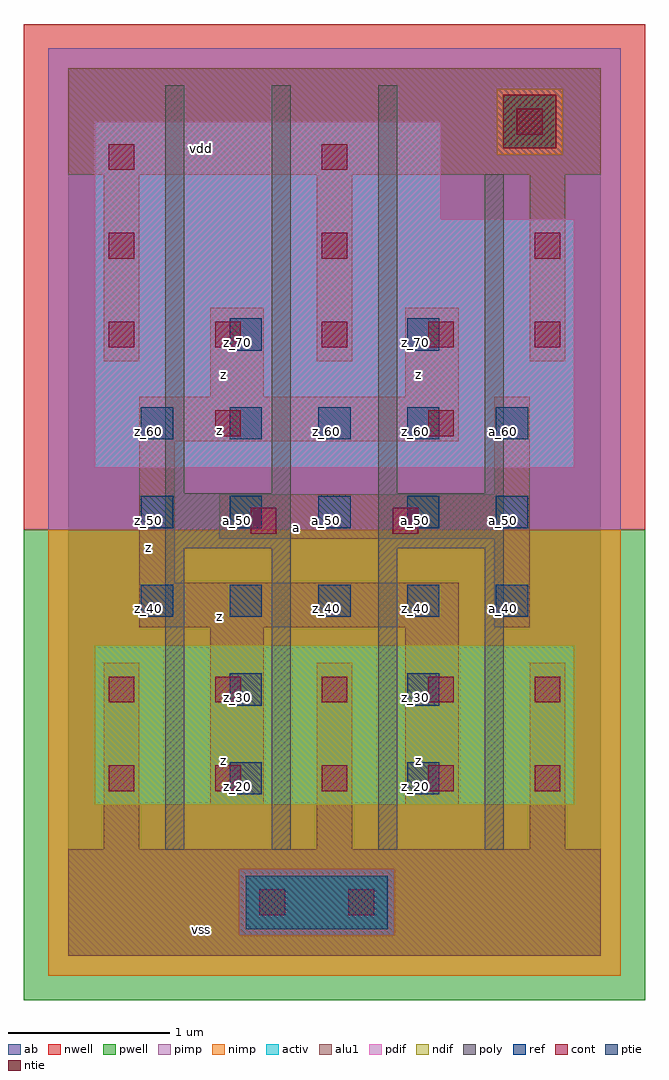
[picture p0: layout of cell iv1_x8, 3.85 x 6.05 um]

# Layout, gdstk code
import gdstk
lib = gdstk.Library(unit=1e-6, precision=2.5e-09)
def R(c, l, rs):  # rectangles x0, y0, x1, y1
    for r in rs: c.add(gdstk.rectangle(r[:2], r[2:], *l))
def A(c, l, x, y, w, h, nx, ny, dx, dy):  # array of equal rectangles
    R(c, l, [(x+i*dx, y+j*dy, x+i*dx+w, y+j*dy+h) for i in range(nx) for j in range(ny)])
ndif = (3, 0)
pdif = (4, 0)
ntie = (5, 0)
ptie = (6, 0)
ref = (24, 0)
cont = (25, 0)
pwell = (41, 0)
nwell = (42, 0)
activ = (43, 0)
pimp = (44, 0)
nimp = (45, 0)
poly = (46, 0)
alu1 = (49, 0)
ab = (63, 0)

iv1_x8 = lib.new_cell('iv1_x8')
R(iv1_x8, ndif, [(0.165,0.935,3.135,1.925)])
R(iv1_x8, pdif, [(0.165,3.025,3.135,4.565), (0.165,4.565,2.31,5.17)])
R(iv1_x8, ntie, [(2.695,5.005,3.025,5.335)])
R(iv1_x8, ptie, [(1.1,0.165,1.98,0.495)])
A(iv1_x8, ref, 0.45, 2.1, 0.2, 0.2, 5, 3, 0.55, 0.55)
R(iv1_x8, ref, [(1,1,1.2,1.2), (2.1,1,2.3,1.2), (1,1.55,1.2,1.75), (2.1,1.55,2.3,1.75), (1,3.75,1.2,3.95), (2.1,3.75,2.3,3.95)])
A(iv1_x8, cont, 0.25, 1.02, 0.16, 0.16, 5, 2, 0.66, 0.55)
A(iv1_x8, cont, 0.25, 3.77, 0.16, 0.16, 5, 1, 0.66, 0)
A(iv1_x8, cont, 0.25, 4.32, 0.16, 0.16, 3, 1, 1.32, 0)
R(iv1_x8, cont, [(1.185,0.25,1.345,0.41), (1.735,0.25,1.895,0.41), (1.13,2.615,1.29,2.775), (2.01,2.615,2.17,2.775), (0.91,3.22,1.07,3.38), (2.23,3.22,2.39,3.38), (0.25,4.87,0.41,5.03), (1.57,4.87,1.73,5.03), (2.78,5.09,2.94,5.25)])
R(iv1_x8, pwell, [(-0.275,-0.275,3.575,2.64)])
R(iv1_x8, nwell, [(-0.275,2.64,3.575,5.775)])
R(iv1_x8, activ, [(1.1,0.165,1.98,0.495), (0.165,0.935,3.135,1.925), (0.165,3.025,3.135,4.565), (0.165,4.565,2.31,5.17), (2.695,5.005,3.025,5.335)])
R(iv1_x8, pimp, [(1.06,0.125,2.02,0.535), (-0.125,2.64,3.425,4.965), (-0.125,4.965,2.655,5.375), (3.065,4.965,3.425,5.375), (-0.125,5.375,3.425,5.625)])
R(iv1_x8, nimp, [(-0.125,-0.125,3.425,0.125), (-0.125,0.125,1.06,0.535), (2.02,0.125,3.425,0.535), (-0.125,0.535,3.425,2.64), (2.655,4.965,3.065,5.375)])
A(iv1_x8, poly, 0.6, 0.655, 0.12, 1.87, 4, 1, 0.66, 0)
A(iv1_x8, poly, 0.6, 2.865, 0.12, 2.53, 3, 1, 0.66, 0)
R(iv1_x8, poly, [(0.6,2.525,1.38,2.865), (1.92,2.525,2.7,2.865), (2.58,2.865,2.7,4.845)])
A(iv1_x8, alu1, 0.22, 0.66, 0.22, 1.155, 3, 2, 1.32, 3.025)
R(iv1_x8, alu1, [(0,0,3.3,0.66), (0.88,0.935,1.21,2.035), (2.09,0.935,2.42,2.035), (0.44,2.035,2.42,2.31), (2.64,2.035,2.86,2.585), (0.44,2.31,0.66,3.19), (0.935,2.585,2.86,2.86), (2.64,2.86,2.86,3.465), (0.44,3.19,2.42,3.465), (0.88,3.465,1.21,4.015), (2.09,3.465,2.42,4.015), (0,4.84,3.3,5.5)])
R(iv1_x8, ab, [(0,0,3.3,5.5)])
iv1_x8.add(gdstk.Label('vss', (0.825,0.165), layer=49, texttype=0))
iv1_x8.add(gdstk.Label('z', (2.1725,1.21), layer=49, texttype=0))
iv1_x8.add(gdstk.Label('z', (0.9625,1.21), layer=49, texttype=0))
iv1_x8.add(gdstk.Label('z', (0.935,2.1025), layer=49, texttype=0))
iv1_x8.add(gdstk.Label('a', (1.415,2.6525), layer=49, texttype=0))
iv1_x8.add(gdstk.Label('z', (0.495,2.53), layer=49, texttype=0))
iv1_x8.add(gdstk.Label('z', (0.935,3.2575), layer=49, texttype=0))
iv1_x8.add(gdstk.Label('z', (2.1725,3.6025), layer=49, texttype=0))
iv1_x8.add(gdstk.Label('z', (0.9625,3.6025), layer=49, texttype=0))
iv1_x8.add(gdstk.Label('vdd', (0.825,5.005), layer=49, texttype=0))
iv1_x8.add(gdstk.Label('z_40', (0.5,2.15), layer=24, texttype=0))
iv1_x8.add(gdstk.Label('z_60', (0.5,3.25), layer=24, texttype=0))
iv1_x8.add(gdstk.Label('z_30', (2.15,1.6), layer=24, texttype=0))
iv1_x8.add(gdstk.Label('z_40', (2.15,2.15), layer=24, texttype=0))
iv1_x8.add(gdstk.Label('z_40', (1.6,2.15), layer=24, texttype=0))
iv1_x8.add(gdstk.Label('a_50', (2.15,2.7), layer=24, texttype=0))
iv1_x8.add(gdstk.Label('z_70', (2.15,3.8), layer=24, texttype=0))
iv1_x8.add(gdstk.Label('z_60', (2.15,3.25), layer=24, texttype=0))
iv1_x8.add(gdstk.Label('z_60', (1.6,3.25), layer=24, texttype=0))
iv1_x8.add(gdstk.Label('a_50', (1.6,2.7), layer=24, texttype=0))
iv1_x8.add(gdstk.Label('z_50', (0.5,2.7), layer=24, texttype=0))
iv1_x8.add(gdstk.Label('z_60', (1.05,3.25), layer=24, texttype=0))
iv1_x8.add(gdstk.Label('z_30', (1.05,1.6), layer=24, texttype=0))
iv1_x8.add(gdstk.Label('z_40', (1.05,2.15), layer=24, texttype=0))
iv1_x8.add(gdstk.Label('z_70', (1.05,3.8), layer=24, texttype=0))
iv1_x8.add(gdstk.Label('a_50', (1.05,2.7), layer=24, texttype=0))
iv1_x8.add(gdstk.Label('z_20', (1.05,1.05), layer=24, texttype=0))
iv1_x8.add(gdstk.Label('z_20', (2.15,1.05), layer=24, texttype=0))
iv1_x8.add(gdstk.Label('a_50', (2.7,2.7), layer=24, texttype=0))
iv1_x8.add(gdstk.Label('a_60', (2.7,3.25), layer=24, texttype=0))
iv1_x8.add(gdstk.Label('a_40', (2.7,2.15), layer=24, texttype=0))

lib.write_gds('iv1_x8.gds')
